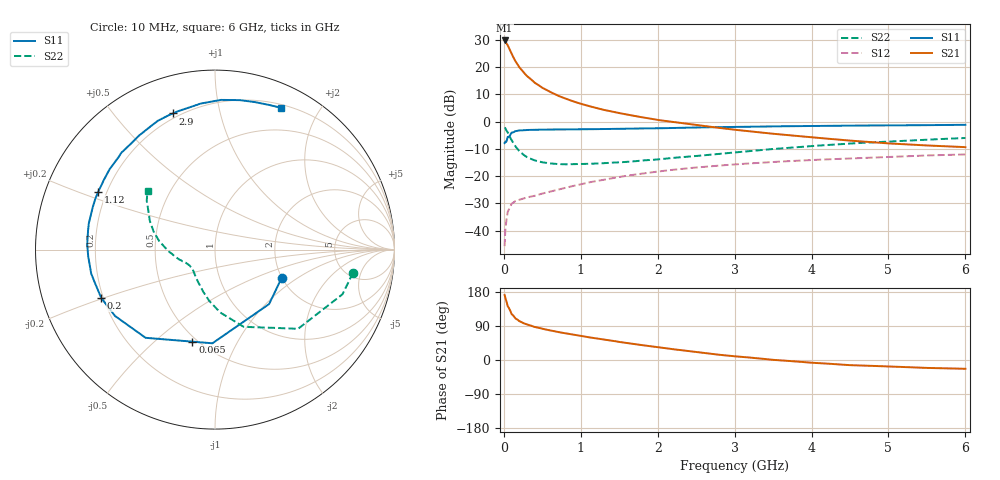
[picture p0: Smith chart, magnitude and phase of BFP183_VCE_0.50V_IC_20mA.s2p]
! Infineon Technologies  Discrete & RF Semiconductors
! BFP183
! VCE = 0.50V,  IC =  20 mA
! Common Emitter S-Parameters:  Jan 2016
# GHz  S  MA  R  50
!  f  S11  S21  S12  S22
! GHz  MAG  ANG  MAG  ANG  MAG  ANG  MAG  ANG
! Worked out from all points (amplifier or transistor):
!   210 points, 10 MHz to 6 GHz, reference 50 ohm
!   highest |S21| = 29.7 dB at 10 MHz (marker M1)
!   |S21| within 3 dB of that: start of sweep to 70 MHz
!   unconditionally stable (mu >= 1): start of sweep to 10.38 MHz; 349.4 MHz to end of sweep
!   at 185 MHz: K = 0.63, MSG = 24.7 dB, |S12| = -28.8 dB
!   at 1.52 GHz: K = 1.70, MAG = 6.7 dB, |S12| = -20.2 dB
!   at 6 GHz: K = 1.42, MAG = -2.5 dB, |S12| = -12.0 dB
!   S11 on the Smith chart (normalised r, x): 10 MHz: 1.99, -0.76; 65 MHz: 0.47, -0.67; 200 MHz: 0.19, -0.20; 1.12 GHz: 0.17, +0.23; 2.9 GHz: 0.18, +0.72; 6 GHz: 0.23, +1.55
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0.01  0.4034 -23.3  30.69 171.5  0.0052 80.2  0.7794 -9.6
0.02  0.4278 -45.2  29.97 163.4  0.0104 72.9  0.7527 -19.3
0.05  0.5222 -91.6  25.1 142.3  0.022 57.7  0.6396 -43.6
0.065  0.5281 -103.8  22.54 137.6  0.0245 51.7  0.5747 -49.6
0.1  0.6253 -128.2  17.45 121.5  0.031 41.6  0.4592 -69.6
0.15  0.6685 -146.4  12.78 109.9  0.0349 35.8  0.3514 -85.3
0.2  0.6886 -157.0  9.965 102.7  0.0368 34.0  0.288 -96.3
0.26  0.6948 -164.8  7.877 96.8  0.0389 34.3  0.2443 -105.5
0.3  0.7026 -169.1  6.845 93.6  0.0407 35.2  0.2231 -110.9
0.4  0.7074 -176.9  5.176 87.2  0.0435 37.2  0.1944 -121.4
0.5  0.7127 177.6  4.163 82.4  0.0479 39.4  0.1794 -128.8
0.7  0.7181 168.2  2.991 74.0  0.0564 43.6  0.1667 -138.1
0.8  0.7177 164.6  2.634 70.3  0.0609 45.0  0.1646 -141.4
1.02  0.7243 157.0  2.081 62.9  0.0718 46.6  0.1667 -147.6
1.12  0.7264 153.8  1.902 59.5  0.0774 46.8  0.1683 -149.4
1.5  0.7385 142.7  1.43 47.7  0.0967 46.3  0.1785 -155.7
2.02  0.754 128.0  1.062 33.3  0.1222 42.7  0.2038 -163.6
2.9  0.7939 107.2  0.737 11.9  0.1601 34.0  0.2635 -179.1
3.1  0.7999 103.2  0.685 8.2  0.1677 31.9  0.2796 177.4
4.1  0.8356 86.2  0.501 -8.3  0.2002 21.6  0.3638 162.1
5.1  0.8526 73.8  0.391 -17.8  0.2265 12.8  0.438 148.4
6  0.8719 64.9  0.34 -23.2  0.2498 3.9  0.4998 138.8
